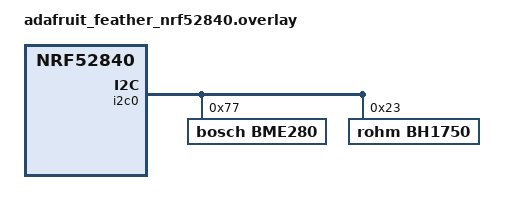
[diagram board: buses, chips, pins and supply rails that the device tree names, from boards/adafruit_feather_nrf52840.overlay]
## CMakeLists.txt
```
# SPDX-License-Identifier: Apache-2.0

cmake_minimum_required(VERSION 3.20.0)
find_package(Zephyr REQUIRED HINTS $ENV{ZEPHYR_BASE})
project(ble-EnvironmentalSensingService)

target_sources(app PRIVATE src/main.c)

zephyr_include_directories(src)

add_subdirectory(src/ble_environmental)
```

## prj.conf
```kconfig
CONFIG_GPIO=y
CONFIG_BT=y
CONFIG_BT_PERIPHERAL=y
CONFIG_BT_DEVICE_NAME="EnviroService"
CONFIG_BT_DEVICE_APPEARANCE=0

CONFIG_I2C=y
CONFIG_SENSOR=y
CONFIG_BME280=y
CONFIG_BH1750=y

CONFIG_UART_CONSOLE=n
CONFIG_RTT_CONSOLE=y
CONFIG_USE_SEGGER_RTT=y
CONFIG_LOG=y
```

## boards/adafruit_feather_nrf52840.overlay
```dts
// To get started, press Ctrl+Space to bring up the completion menu and view the available nodes.

// You can also use the buttons in the sidebar to perform actions on nodes.
// Actions currently available include:

// * Enabling / disabling the node
// * Adding the bus to a bus
// * Removing the node
// * Connecting ADC channels

// For more help, browse the DeviceTree documentation at https://docs.zephyrproject.org/latest/guides/dts/index.html
// You can also visit the nRF DeviceTree extension documentation at https://nrfconnect.github.io/vscode-nrf-connect/devicetree/nrfdevicetree.html

&i2c0 {
	bme280: bme280@77 {
		/* 0x76 - SDO <-> GND */
		/* 0x77 - SDO <-> VCC */
		compatible = "bosch,bme280";
		status = "okay";
		reg = <0x77>;
	};
	bh1750: bh1750@23{
		/* ADDR_LO  0x23    /* I2C address when ADDR pin floating/low */
		/* ADDR_HI  0x5C    /* I2C address when ADDR pin is high */
		compatible = "rohm,bh1750";
		status = "okay";
		reg = <0x23>;
	};
};
```

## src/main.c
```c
#include <zephyr/kernel.h>
#include <zephyr/logging/log.h>
#include <zephyr/device.h>
#include <zephyr/devicetree.h>
#include <zephyr/drivers/sensor.h>

#include <zephyr/bluetooth/bluetooth.h>
#include <zephyr/bluetooth/conn.h>
#include <zephyr/bluetooth/gatt.h>
#include <zephyr/bluetooth/uuid.h>

#include "ble_environmental/ble_environmental.h"

LOG_MODULE_REGISTER(ble_ess);

static const struct device *get_bme280_device(void);
static const struct device *get_bh1750_device(void);

#define APP_EVENT_QUEUE_SIZE	8

enum app_event_type{
	APP_BLE_INIT_EVENT,
	APP_BH1750_INIT_EVENT,
	APP_BME280_INIT_EVENT,
    APP_BH1750_READ_EVENT,
    APP_BME280_READ_EVENT,
	APP_BME280_AND_BH1750_READ_EVENT,
	APP_PUBLISH_SENSOR_DATA_FOR_BLE,
	APP_ERROR_EVENT,
    APP_EVENT_UNKNOWN,
    APP_EVENT_MAX = APP_EVENT_UNKNOWN
};

struct app_event{													
	enum app_event_type type;								
	union{															
		struct sensor_value bh1750_data;
		struct sensor_value bme280_data; 									
		int err;													
	};																
};

/* Define message queue */
K_MSGQ_DEFINE(app_event_msq, sizeof(struct app_event), APP_EVENT_QUEUE_SIZE, 4);

/* Timers */
static void app_expiry_function(struct k_timer *tmr);
K_TIMER_DEFINE(app_timer, app_expiry_function, NULL);

static int app_event_manager_push(struct app_event *p_evt);

static int app_event_manager_get(struct app_event *p_evt);

static struct app_event app_evts;

int main(void){

	app_evts.type = APP_BH1750_INIT_EVENT;
	app_event_manager_push(&app_evts);

	const struct device *dev_bme280 = NULL;
	const struct device *dev_bh1750 = NULL;
	struct sensor_value temp, press, humidity, lux;
	int8_t err = -1; 

	while (1){
		app_event_manager_get(&app_evts);

		switch(app_evts.type){

			case APP_BME280_AND_BH1750_READ_EVENT:
				sensor_sample_fetch(dev_bme280);
				sensor_sample_fetch(dev_bh1750);
				sensor_channel_get(dev_bme280, SENSOR_CHAN_AMBIENT_TEMP, &temp);
				sensor_channel_get(dev_bme280, SENSOR_CHAN_PRESS, &press);
				sensor_channel_get(dev_bme280, SENSOR_CHAN_HUMIDITY, &humidity);
				sensor_channel_get(dev_bh1750, SENSOR_CHAN_LIGHT, &lux);

				/* Update values for Read callbacks and Notifications */
				LOG_INF("temp: %d.%06d; press: %d.%06d; humidity: %d.%06d; lux: %d.%06d\n",
					temp.val1, temp.val2, press.val1, press.val2,
					humidity.val1, humidity.val2, lux.val1, lux.val2);

				app_evts.type = APP_PUBLISH_SENSOR_DATA_FOR_BLE;
				k_timer_start(&app_timer, K_MSEC(100), K_MSEC(100));
				break;

			case APP_PUBLISH_SENSOR_DATA_FOR_BLE:
				bt_le_lux_publish_sensor_data(lux);
				bt_le_temperature_publish_sensor_data(temp);
				bt_le_pressure_publish_sensor_data(press);
				bt_le_humidity_publish_sensor_data(humidity);
				app_evts.type = APP_BME280_AND_BH1750_READ_EVENT;
				k_timer_start(&app_timer, K_MSEC(100), K_SECONDS(5));
				break;

			case APP_BH1750_INIT_EVENT:
				dev_bh1750 = get_bh1750_device();

				if(!dev_bh1750){
					app_evts.type = APP_ERROR_EVENT;
					err = 1;
				}
				else{
					app_evts.type = APP_BME280_INIT_EVENT;
				}
				k_timer_start(&app_timer, K_MSEC(2000), K_MSEC(2000));
				break;

			case APP_BME280_INIT_EVENT:
				dev_bme280 = get_bme280_device();
				if(!dev_bme280){
					app_evts.type = APP_ERROR_EVENT;
					err = 2;
				}
				else{
					app_evts.type = APP_BLE_INIT_EVENT;
				}
				break;

			case APP_BLE_INIT_EVENT:
				/* Initialise theh BLE stack */
				k_timer_stop(&app_timer);
				int rc = init_bt_le_environmental_service();
				if(rc != 0){
					LOG_ERR("rc is %d", rc);
					app_evts.type = APP_ERROR_EVENT;
					err = 3;
				}
				else{
					app_evts.type = APP_BME280_AND_BH1750_READ_EVENT;
				}
				k_timer_start(&app_timer, K_SECONDS(2), K_SECONDS(2));
				break;
			
			case APP_ERROR_EVENT:
				if(err == 1){
					LOG_ERR("Error occured: %s", "Falied to init BH1750");
					app_evts.type = APP_BH1750_INIT_EVENT;
				}
				else if(err == 2){
					LOG_ERR("Error occured: %s", "Falied to init BME280");
					app_evts.type = APP_BME280_INIT_EVENT;
				}
				else if(err == 3){
					LOG_ERR("Unable to initialise BLE stack");
					app_evts.type = APP_BLE_INIT_EVENT;
				}
				else{
					LOG_ERR("Unknown error occured");
					app_evts.type = APP_BH1750_INIT_EVENT;
				}
				break;

			default:
				app_evts.type = APP_ERROR_EVENT;
				err = -1;
				break;

		}
		
	}
	return 0;
}

static const struct device *get_bme280_device(void){
	const struct device *const dev = DEVICE_DT_GET_ANY(bosch_bme280);

	if(!dev){
		LOG_ERR("No BME280 device found");
		return NULL;
	}

	if(!device_is_ready(dev)){
		LOG_ERR("Device \"%s\" is not ready. Check the driver intialization logs for errors", dev->name);
		return NULL;
	}

	LOG_INF("Found \"%s\", getting sensor data", dev->name);
	return dev;
}

static const struct device *get_bh1750_device(void){
	const struct device *const dev = DEVICE_DT_GET_ANY(rohm_bh1750);

	if(!dev){
		LOG_ERR("No BH1750 device found");
		return NULL;
	}

	if(!device_is_ready(dev)){
		LOG_ERR("Device \"%s\" is not ready. Check the driver intialization logs for errors", dev->name);
		return NULL;
	}

	LOG_INF("Found \"%s\", getting sensor data", dev->name);
	return dev;
}

static int app_event_manager_push(struct app_event *p_evt){
	
	return k_msgq_put(&app_event_msq, p_evt, K_NO_WAIT);
}

static int app_event_manager_get(struct app_event *p_evt){
	return k_msgq_get(&app_event_msq, p_evt, K_FOREVER);
}

static void app_expiry_function(struct k_timer *tmr){
	(void)tmr;
	app_event_manager_push(&app_evts);
}
```
